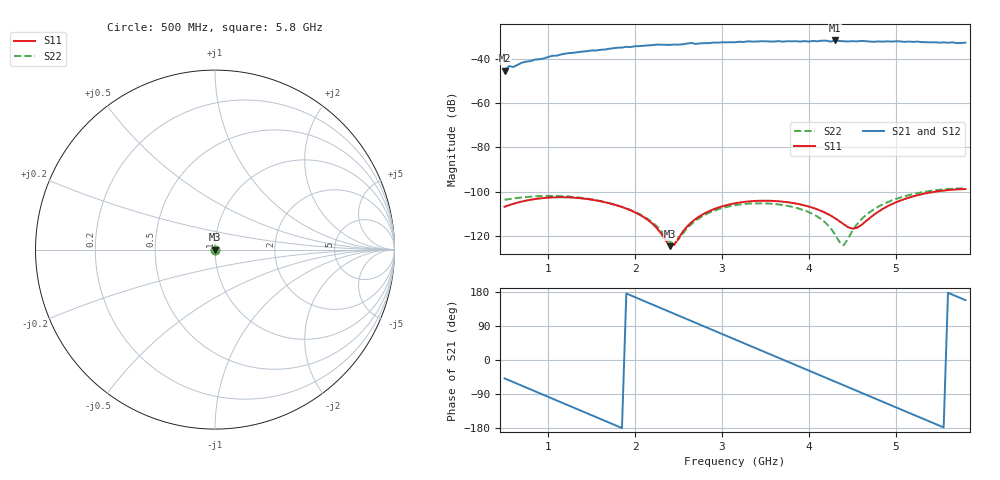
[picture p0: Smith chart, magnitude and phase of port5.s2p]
# GHZ S RI R 50
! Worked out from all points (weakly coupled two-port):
!   107 points, 500 MHz to 5.8 GHz, reference 50 ohm
!   highest |S21| = -31.69 dB at 4.3 GHz (marker M1); lowest = -45.3 dB at 500 MHz (marker M2)
!   lowest |S11| = -124.6 dB at 2.4 GHz (marker M3), VSWR 1.00, Z = 50 + j4.2e-05 ohm
!   |S11| at or under -10 dB: start of sweep to end of sweep
!   |S22| runs from -124.1 to -98.5 dB; largest |S21 - S12| = 1.4e-16
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0.5  8.88e-07 4.49e-06  0.00357 -0.00405  0.00357 -0.00405  4.33e-06 4.98e-06
0.55  1.51e-06 4.74e-06  0.00409 -0.00551  0.00409 -0.00551  4.59e-06 5.04e-06
0.6  2.17e-06 4.89e-06  0.00345 -0.00558  0.00345 -0.00558  4.88e-06 5.07e-06
0.7  3.57e-06 4.86e-06  0.00309 -0.00764  0.00309 -0.00764  5.5e-06 4.99e-06
0.95  6.6e-06 2.94e-06  -0.000404 -0.0102  -0.000404 -0.0102  7.01e-06 3.92e-06
1.05  7.28e-06 1.59e-06  -0.00244 -0.0115  -0.00244 -0.0115  7.42e-06 3.17e-06
1.4  6.15e-06 -3.44e-06  -0.0105 -0.0102  -0.0105 -0.0102  7.22e-06 5.01e-08
1.9  -3.24e-07 -4.15e-06  -0.0186 0.00146  -0.0186 0.00146  3.53e-06 -2.31e-06
2.3  -1.12e-06 -2.41e-07  -0.0152 0.0143  -0.0152 0.0143  2.6e-07 -1.28e-06
2.4  -4.16e-07 4.2e-07  -0.0124 0.0165  -0.0124 0.0165  -3.64e-07 -6.4e-07
2.65  1.99e-06 5.29e-07  -0.00501 0.0222  -0.00501 0.0222  -1.17e-06 1.46e-06
2.7  2.45e-06 2.69e-07  -0.00297 0.0215  -0.00297 0.0215  -1.17e-06 1.92e-06
3.15  3.35e-06 -4.35e-06  0.0139 0.0193  0.0139 0.0193  1.23e-06 4.81e-06
3.3  2.1e-06 -5.66e-06  0.0192 0.0159  0.0192 0.0159  2.48e-06 4.78e-06
4  -3.77e-06 -2.69e-06  0.0217 -0.0115  0.0217 -0.0115  3.45e-06 1.81e-07
4.05  -3.7e-06 -2.22e-06  0.0213 -0.0138  0.0213 -0.0138  3.1e-06 -1.04e-07
4.2  -3.08e-06 -1.12e-06  0.0174 -0.0189  0.0174 -0.0189  1.81e-06 -6.72e-07
4.25  -2.77e-06 -8.91e-07  0.015 -0.0194  0.015 -0.0194  1.32e-06 -7.46e-07
4.3  -2.42e-06 -7.42e-07  0.0142 -0.0219  0.0142 -0.0219  7.98e-07 -7.55e-07
4.45  -1.36e-06 -8.25e-07  0.00782 -0.0235  0.00782 -0.0235  -7.95e-07 -3.52e-07
4.95  -1.6e-06 -4.96e-06  -0.0123 -0.0213  -0.0123 -0.0213  -3.57e-06 5.22e-06
5.8  -1.15e-05 1.01e-06  -0.0216 0.0087  -0.0216 0.0087  7.77e-06 9.01e-06
